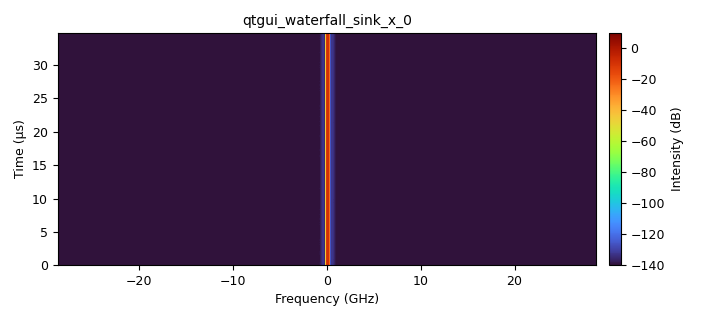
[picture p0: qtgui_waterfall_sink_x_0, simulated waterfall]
options:
  parameters:
    generate_options: qt_gui
    id: recc
    output_language: python
    title: Not titled yet
  states: {}

blocks:
- name: samp_rate
  id: variable
  parameters:
    value: 57.4e9
  states: {}
- name: analog_sig_source_x_0
  id: analog_sig_source_x
  parameters:
    amp: '1'
    freq: '1000'
    offset: '0'
    phase: '0'
    samp_rate: samp_rate
    type: complex
    waveform: analog.GR_COS_WAVE
  states: {}
- name: network_tcp_sink_0
  id: network_tcp_sink
  parameters:
    mode: '2'
    port: '2000'
    type: complex
  states: {state: disabled}
- name: network_tcp_source_0
  id: network_tcp_source
  parameters:
    addr: 1.tcp.in.ngrok.io
    port: '20434'
    server: 'False'
    type: complex
  states: {state: disabled}
- name: qtgui_waterfall_sink_x_0
  id: qtgui_waterfall_sink_x
  parameters:
    bw: samp_rate
    fc: '0'
    fftsize: '1024'
    type: complex
  states: {}

connections:
- [analog_sig_source_x_0, '0', network_tcp_sink_0, '0']
- [analog_sig_source_x_0, '0', qtgui_waterfall_sink_x_0, '0']
- [network_tcp_source_0, '0', qtgui_waterfall_sink_x_0, '0']

metadata:
  file_format: 1
  grc_version: 3.10.9.2
